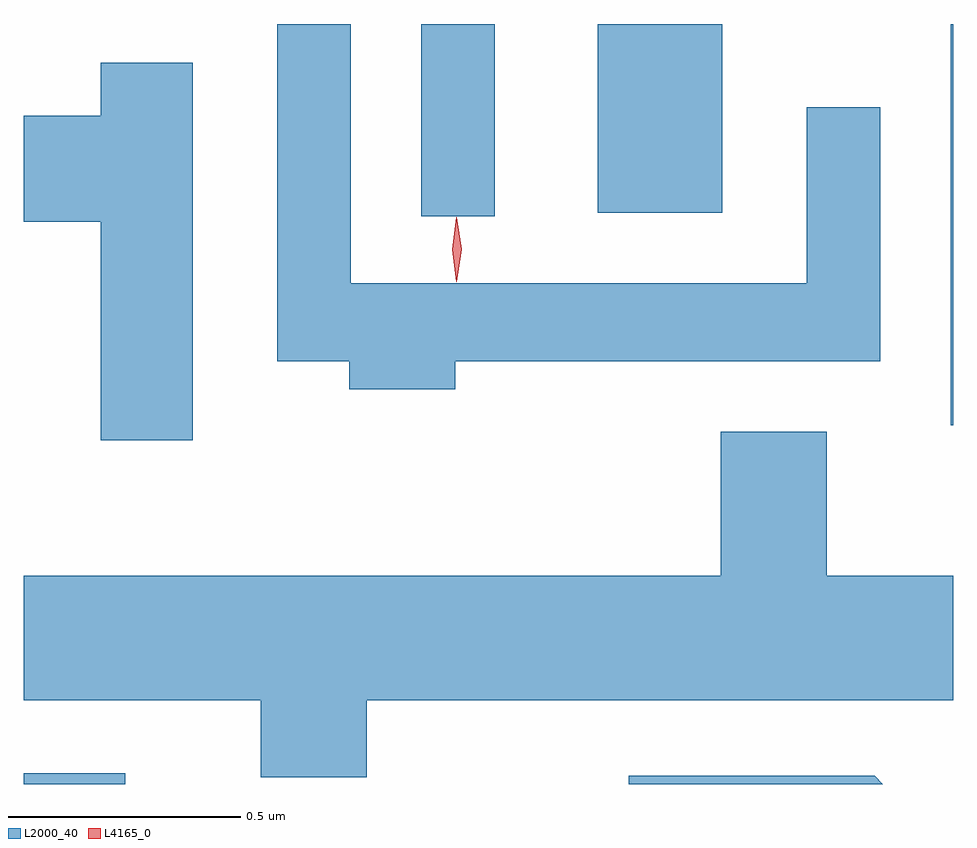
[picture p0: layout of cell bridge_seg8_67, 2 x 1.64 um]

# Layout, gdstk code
import gdstk
lib = gdstk.Library(unit=1e-6, precision=1e-09)
def R(c, l, rs):  # rectangles x0, y0, x1, y1
    for r in rs: c.add(gdstk.rectangle(r[:2], r[2:], *l))
def P(c, l, *ps):  # polygons
    for p in ps: c.add(gdstk.Polygon(p, *l))
L2000_40 = (2000, 40)
L4165_0 = (4165, 0)

bridge_seg8_67 = lib.new_cell('bridge_seg8_67')
R(bridge_seg8_67, L2000_40, [(1462.031,1942.796,1462.249,1942.819), (1464.026,1943.568,1464.031,1944.432), (1462.886,1944.018,1463.044,1944.432), (1463.266,1944.026,1463.534,1944.432)])
P(bridge_seg8_67, L2000_40, [(1462.959,1943.706),(1463.874,1943.706),(1463.874,1944.253),(1463.716,1944.253),(1463.716,1943.874),(1462.734,1943.874),(1462.734,1944.432),(1462.576,1944.432),(1462.576,1943.706),(1462.731,1943.706),(1462.731,1943.646),(1462.959,1943.646)],
  [(1462.394,1944.349),(1462.196,1944.349),(1462.196,1944.234),(1462.031,1944.234),(1462.031,1944.006),(1462.196,1944.006),(1462.196,1943.536),(1462.394,1943.536)],
  [(1462.769,1942.976),(1464.031,1942.976),(1464.031,1943.244),(1463.759,1943.244),(1463.759,1943.554),(1463.531,1943.554),(1463.531,1943.244),(1462.031,1943.244),(1462.031,1942.976),(1462.541,1942.976),(1462.541,1942.811),(1462.769,1942.811)],
  [(1463.862,1942.814),(1463.333,1942.814),(1463.333,1942.796),(1463.88,1942.796)])
P(bridge_seg8_67, L4165_0, [(1462.962,1943.877),(1462.953,1943.947),(1462.962,1944.016),(1462.963,1944.016),(1462.963,1944.016),(1462.973,1943.947),(1462.963,1943.877),(1462.963,1943.877)])

lib.write_gds('bridge_seg8_67.gds')
